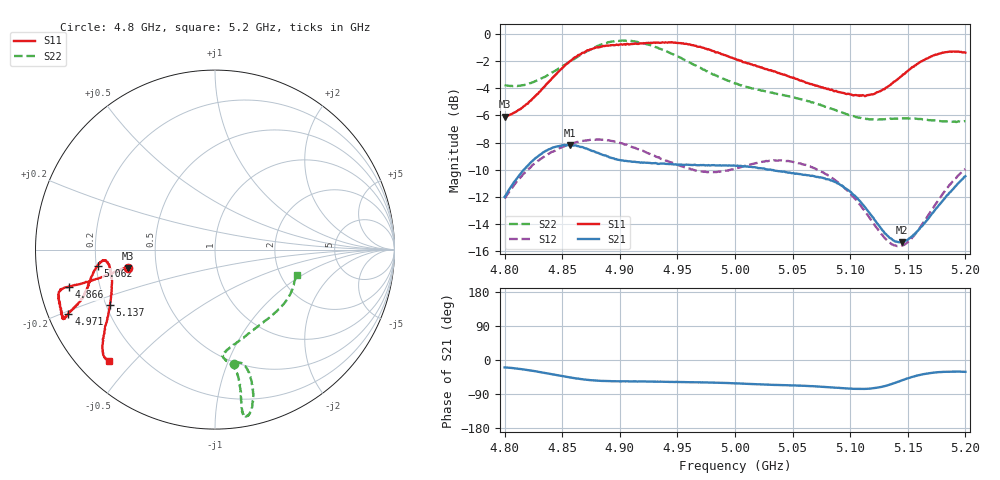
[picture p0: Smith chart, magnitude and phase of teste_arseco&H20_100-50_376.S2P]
! Network Analyzer HP8722D
! Hewlett-Packard
! Data name: Linha & Wilkinson
! Saver's name: Rodrigo Anjos
! Comments: Teste da utilização de aquisição
! continua pelo VNA HP8722D
! Time and date: 6/5/2025 15:42
!  Frequency  S11  S21  S12  S22
# HZ  S  MA R 50
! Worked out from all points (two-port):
!   401 points, 4.8 GHz to 5.2 GHz, reference 50 ohm
!   highest |S21| = -8.17 dB at 4.857 GHz (marker M1); lowest = -15.3 dB at 5.145 GHz (marker M2)
!   |S21| within 3 dB of the highest: 4.806 GHz to 5.093 GHz (286.9 MHz wide, 5.8 % of centre); 5.191888 GHz to end of sweep
!   lowest |S11| = -6.1 dB at 4.8 GHz (marker M3), VSWR 2.97, Z = 17 - j4.6 ohm
!   |S11| at or under -10 dB: nowhere
!   |S22| runs from -6.5 to -0.5 dB; largest |S21 - S12| = 0.62
!   S11 on the Smith chart (normalised r, x): 4.8 GHz: 0.34, -0.09; 4.866 GHz: 0.09, -0.12; 4.971 GHz: 0.06, -0.21; 5.062 GHz: 0.21, -0.07; 5.137 GHz: 0.22, -0.24; 5.2 GHz: 0.09, -0.43
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4.8e9  0.4961 -168.1  0.2514 -19.5  0.2484 -140.7  0.6475 -80.4
4.829e9  0.6024 -166.8  0.3544 -31.0  0.3415 -144.9  0.6759 -75.2
4.857e9  0.7951 -165.8  0.3905 -46.1  0.393 -150.1  0.7919 -74.7
4.866e9  0.8413 -165.8  0.3837 -50.2  0.4021 -151.7  0.8368 -75.2
4.867e9  0.8489 -165.7  0.3838 -50.6  0.4037 -151.8  0.8417 -75.3
4.879e9  0.8903 -165.4  0.367 -54.2  0.4079 -153.9  0.8946 -76.6
4.9e9  0.9146 -162.5  0.3436 -56.2  0.397 -156.3  0.9428 -79.1
4.934e9  0.928 -156.2  0.3326 -57.4  0.3519 -155.5  0.8832 -80.4
4.953e9  0.925 -155.4  0.3308 -58.0  0.3264 -151.9  0.8165 -79.8
4.971e9  0.8913 -156.3  0.3291 -59.2  0.3121 -146.4  0.7463 -79.6
5e9  0.8095 -158.9  0.3275 -61.8  0.3195 -137.1  0.6566 -81.3
5.036e9  0.7227 -165.4  0.3136 -65.8  0.3422 -134.3  0.6022 -85.6
5.062e9  0.6606 -172.2  0.3025 -68.4  0.3293 -136.2  0.5687 -83.8
5.067e9  0.6519 -173.0  0.3012 -68.9  0.3235 -136.6  0.5598 -82.7
5.085e9  0.6187 -174.3  0.2875 -72.5  0.294 -138.2  0.5284 -75.8
5.103e9  0.5944 -171.3  0.2556 -76.0  0.2505 -138.6  0.4984 -65.3
5.116e9  0.5959 -165.5  0.2217 -75.8  0.2133 -135.5  0.4852 -55.8
5.134e9  0.6462 -154.1  0.178 -65.3  0.1709 -120.9  0.4861 -43.4
5.137e9  0.6607 -152.4  0.1745 -62.3  0.1679 -117.0  0.4873 -41.6
5.145e9  0.7021 -148.1  0.1712 -53.7  0.1666 -106.3  0.4886 -36.8
5.174e9  0.8381 -138.4  0.2264 -32.7  0.2362 -80.3  0.4801 -23.9
5.2e9  0.853 -133.6  0.2997 -31.2  0.3185 -76.8  0.4772 -17.5
